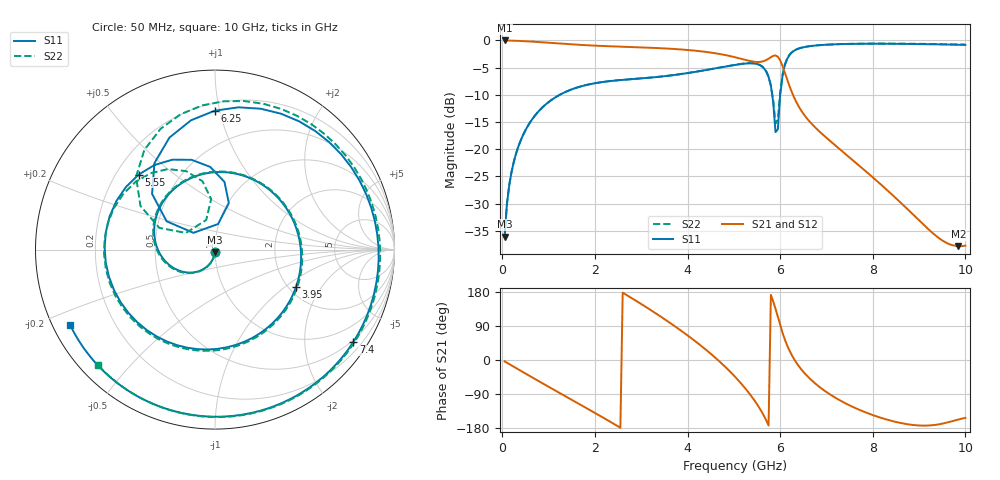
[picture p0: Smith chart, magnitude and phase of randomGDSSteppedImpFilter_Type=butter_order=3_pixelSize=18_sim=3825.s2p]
! freq	dB(S11)	phase(S11)	dB(S12)	phase(S12)
!  dB(S21)	phase(S21)	dB(S22)	phase(S22)
!S-par simulation data
#  GHz  S  DB  R 50
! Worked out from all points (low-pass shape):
!   200 points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, 50 MHz to 10 GHz, reference 50 ohm
!   highest |S21| = -0.01 dB at 50 MHz (marker M1); lowest = -37.8 dB at 9.85 GHz (marker M2)
!   |S21| within 3 dB of the highest: start of sweep to 4.984 GHz; 5.815 GHz to 5.951 GHz (135.6 MHz wide, 2.3 % of centre)
!   lowest |S11| = -36.0 dB at 50 MHz (marker M3), VSWR 1.03, Z = 49.9 - j1.57 ohm
!   |S11| at or under -10 dB: start of sweep to 1.24 GHz; 5.827 GHz to 6.001 GHz (174.3 MHz wide, 2.95 % of centre)
!   |S22| runs from -36.1 to -0.6 dB; largest |S21 - S12| = 0
!   S11 on the Smith chart (normalised r, x): 50 MHz: 1.00, -0.03; 3.95 GHz: 2.20, -1.20; 5.55 GHz: 0.29, +0.38; 6.25 GHz: 0.25, +0.97; 7.4 GHz: 0.44, -3.24; 10 GHz: 0.05, -0.24
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0.05  -36.05 -93.0  -0.01 -3.6  -0.01 -3.6  -36.08 -93.1
0.2  -24.16 -104.7  -0.04 -14.4  -0.04 -14.4  -24.16 -104.3
0.5  -16.51 -126.7  -0.15 -35.7  -0.15 -35.7  -16.51 -125.7
1.1  -10.72 -169.4  -0.48 -77.6  -0.48 -77.6  -10.72 -167.1
1.75  -8.33 145.2  -0.85 -122.3  -0.85 -122.3  -8.33 149.0
2.6  -7.25 84.2  -1.16 177.7  -1.16 177.7  -7.25 90.3
3.4  -6.67 22.3  -1.42 116.3  -1.42 116.3  -6.67 29.9
3.95  -6.07 -24.5  -1.72 69.5  -1.72 69.5  -6.07 -16.7
4.55  -5.22 -83.1  -2.29 11.4  -2.29 11.4  -5.21 -75.2
5.05  -4.47 -143.9  -3.14 -47.4  -3.14 -47.4  -4.45 -134.6
5.3  -4.22 179.0  -3.69 -83.0  -3.69 -83.0  -4.19 -169.9
5.55  -4.49 135.4  -3.96 -126.1  -3.96 -126.1  -4.46 149.0
5.8  -8.38 82.0  -3.08 171.9  -3.08 171.9  -8.24 100.4
5.9  -16.86 83.0  -2.76 135.2  -2.76 135.2  -15.27 106.5
5.95  -16.35 142.2  -2.99 114.1  -2.99 114.1  -14.59 150.1
6.1  -4.61 125.0  -5.87 54.5  -5.87 54.5  -4.46 137.3
6.25  -2.22 90.1  -9.46 13.2  -9.46 13.2  -2.18 104.2
6.7  -0.99 25.6  -15.51 -55.9  -15.51 -55.9  -0.99 40.9
7.4  -0.66 -33.8  -20.80 -113.7  -20.80 -113.7  -0.65 -19.1
8.35  -0.61 -86.2  -27.83 -158.8  -27.83 -158.8  -0.58 -71.8
9.85  -0.80 -147.0  -37.82 -157.0  -37.82 -157.0  -0.74 -130.2
10  -0.82 -152.7  -37.73 -152.7  -37.73 -152.7  -0.76 -135.4
